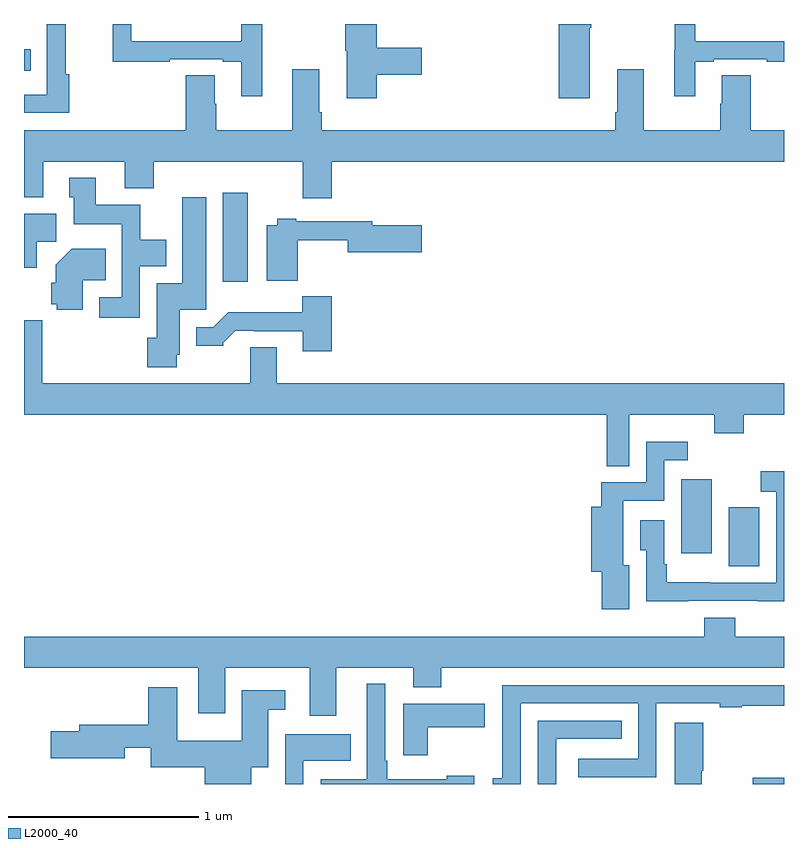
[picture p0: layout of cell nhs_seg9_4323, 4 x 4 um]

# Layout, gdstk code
import gdstk
lib = gdstk.Library(unit=1e-6, precision=1e-09)
def R(c, l, rs):  # rectangles x0, y0, x1, y1
    for r in rs: c.add(gdstk.rectangle(r[:2], r[2:], *l))
def P(c, l, *ps):  # polygons
    for p in ps: c.add(gdstk.Polygon(p, *l))
L2000_40 = (2000, 40)

nhs_seg9_4323 = lib.new_cell('nhs_seg9_4323')
R(nhs_seg9_4323, L2000_40, [(362.835,1170.5,363,1170.532), (362.708,1171.645,362.869,1171.956), (362.459,1171.715,362.62,1172.104), (360.047,1173.144,360.178,1173.613), (359,1174.254,359.036,1174.367), (359.65,1174.499,360.043,1174.5), (362.699,1174.499,362.941,1174.5)])
P(nhs_seg9_4323, L2000_40, [(362.533,1174.302),(362.629,1174.302),(362.629,1174.314),(362.908,1174.314),(362.908,1174.302),(363,1174.302),(363,1174.41),(362.533,1174.41),(362.533,1174.5),(362.424,1174.5),(362.424,1174.363),(362.423,1174.363),(362.423,1174.119),(362.533,1174.119)],
  [(360.253,1174.5),(360.144,1174.5),(360.144,1174.41),(359.565,1174.41),(359.565,1174.5),(359.467,1174.5),(359.467,1174.302),(359.768,1174.302),(359.768,1174.314),(360.047,1174.314),(360.047,1174.302),(360.143,1174.302),(360.143,1174.119),(360.253,1174.119)],
  [(359.237,1174.235),(359.22,1174.235),(359.22,1174.5),(359.12,1174.5),(359.12,1174.456),(359.121,1174.456),(359.121,1174.128),(359,1174.128),(359,1174.032),(359.237,1174.032)],
  [(360.857,1174.234),(361.093,1174.234),(361.093,1174.376),(360.857,1174.376),(360.857,1174.5),(360.691,1174.5),(360.691,1174.359),(360.698,1174.359),(360.698,1174.11),(360.857,1174.11)],
  [(361.978,1174.481),(361.986,1174.481),(361.986,1174.5),(361.814,1174.5),(361.814,1174.11),(361.978,1174.11)],
  [(360.62,1173.776),(363,1173.776),(363,1173.94),(362.825,1173.94),(362.825,1174.229),(362.672,1174.229),(362.672,1174.079),(362.665,1174.079),(362.665,1173.94),(362.263,1173.94),(362.263,1174.261),(362.123,1174.261),(362.123,1174.036),(362.111,1174.036),(362.111,1173.94),(360.566,1173.94),(360.566,1174.036),(360.553,1174.036),(360.553,1174.261),(360.413,1174.261),(360.413,1173.94),(360.012,1173.94),(360.012,1174.079),(360.004,1174.079),(360.004,1174.229),(359.852,1174.229),(359.852,1173.94),(359,1173.94),(359,1173.587),(359.101,1173.587),(359.101,1173.776),(359.531,1173.776),(359.531,1173.635),(359.684,1173.635),(359.684,1173.776),(360.467,1173.776),(360.467,1173.582),(360.62,1173.582)],
  [(359.61,1173.224),(359.749,1173.224),(359.749,1173.364),(359.613,1173.364),(359.613,1173.55),(359.377,1173.55),(359.377,1173.691),(359.237,1173.691),(359.237,1173.588),(359.261,1173.588),(359.261,1173.446),(359.514,1173.446),(359.514,1173.063),(359.397,1173.063),(359.397,1172.955),(359.61,1172.955)],
  [(359.805,1172.76),(359.821,1172.76),(359.821,1172.997),(359.959,1172.997),(359.959,1173.589),(359.834,1173.589),(359.834,1173.136),(359.699,1173.136),(359.699,1172.85),(359.648,1172.85),(359.648,1172.694),(359.805,1172.694)],
  [(359.068,1173.355),(359.17,1173.355),(359.17,1173.502),(359,1173.502),(359,1173.216),(359.068,1173.216)],
  [(360.44,1173.361),(360.704,1173.361),(360.704,1173.299),(361.093,1173.299),(361.093,1173.441),(360.832,1173.441),(360.832,1173.462),(360.433,1173.462),(360.433,1173.475),(360.333,1173.475),(360.333,1173.442),(360.278,1173.442),(360.278,1173.149),(360.44,1173.149)],
  [(359.308,1173.152),(359.429,1173.152),(359.429,1173.316),(359.252,1173.316),(359.168,1173.232),(359.168,1173.138),(359.143,1173.138),(359.143,1173.024),(359.172,1173.024),(359.172,1172.995),(359.308,1172.995)],
  [(360.62,1173.067),(360.465,1173.067),(360.465,1172.983),(360.076,1172.983),(359.997,1172.904),(359.906,1172.904),(359.906,1172.807),(360.048,1172.807),(360.048,1172.822),(360.112,1172.886),(360.211,1172.886),(360.211,1172.883),(360.467,1172.883),(360.467,1172.778),(360.62,1172.778)],
  [(362.185,1172.444),(362.632,1172.444),(362.632,1172.345),(362.787,1172.345),(362.787,1172.444),(363,1172.444),(363,1172.608),(360.331,1172.608),(360.331,1172.798),(360.191,1172.798),(360.191,1172.608),(359.096,1172.608),(359.096,1172.941),(359,1172.941),(359,1172.444),(362.067,1172.444),(362.067,1172.173),(362.185,1172.173)],
  [(362.185,1171.651),(362.155,1171.651),(362.155,1171.992),(362.37,1171.992),(362.37,1172.205),(362.494,1172.205),(362.494,1172.302),(362.274,1172.302),(362.274,1172.088),(362.037,1172.088),(362.037,1171.96),(361.985,1171.96),(361.985,1171.616),(362.042,1171.616),(362.042,1171.419),(362.185,1171.419)],
  [(362.495,1171.464),(362.861,1171.464),(362.861,1171.463),(363,1171.463),(363,1172.146),(362.877,1172.146),(362.877,1172.037),(362.958,1172.037),(362.958,1171.56),(362.612,1171.56),(362.612,1171.561),(362.383,1171.561),(362.383,1171.657),(362.37,1171.657),(362.37,1171.888),(362.243,1171.888),(362.243,1171.729),(362.274,1171.729),(362.274,1171.463),(362.495,1171.463)],
  [(360.643,1171.112),(361.049,1171.112),(361.049,1171.01),(361.197,1171.01),(361.197,1171.112),(363,1171.112),(363,1171.276),(362.744,1171.276),(362.744,1171.375),(362.579,1171.375),(362.579,1171.276),(359,1171.276),(359,1171.112),(359.918,1171.112),(359.918,1170.873),(360.058,1170.873),(360.058,1171.112),(360.503,1171.112),(360.503,1170.858),(360.643,1170.858)],
  [(361.369,1170.544),(361.224,1170.544),(361.224,1170.525),(360.913,1170.525),(360.913,1170.622),(360.9,1170.622),(360.9,1171.027),(360.804,1171.027),(360.804,1170.525),(360.561,1170.525),(360.561,1170.5),(361.369,1170.5)],
  [(361.614,1170.924),(362.232,1170.924),(362.232,1170.633),(361.917,1170.633),(361.917,1170.536),(362.328,1170.536),(362.328,1170.924),(362.662,1170.924),(362.662,1170.904),(362.778,1170.904),(362.778,1170.912),(363,1170.912),(363,1171.02),(361.518,1171.02),(361.518,1170.531),(361.467,1170.531),(361.467,1170.5),(361.614,1170.5)],
  [(360.196,1170.587),(360.286,1170.587),(360.286,1170.89),(360.376,1170.89),(360.376,1170.994),(360.146,1170.994),(360.146,1170.727),(359.806,1170.727),(359.806,1171.009),(359.654,1171.009),(359.654,1170.811),(359.291,1170.811),(359.291,1170.777),(359.142,1170.777),(359.142,1170.635),(359.53,1170.635),(359.53,1170.69),(359.666,1170.69),(359.666,1170.587),(359.951,1170.587),(359.951,1170.5),(360.196,1170.5)],
  [(361.125,1170.8),(361.426,1170.8),(361.426,1170.922),(360.995,1170.922),(360.995,1170.651),(361.125,1170.651)],
  [(361.8,1170.738),(362.147,1170.738),(362.147,1170.834),(361.704,1170.834),(361.704,1170.5),(361.8,1170.5)],
  [(362.566,1170.57),(362.574,1170.57),(362.574,1170.823),(362.426,1170.823),(362.426,1170.5),(362.566,1170.5)],
  [(360.471,1170.623),(360.719,1170.623),(360.719,1170.763),(360.374,1170.763),(360.374,1170.5),(360.471,1170.5)])

lib.write_gds('nhs_seg9_4323.gds')
